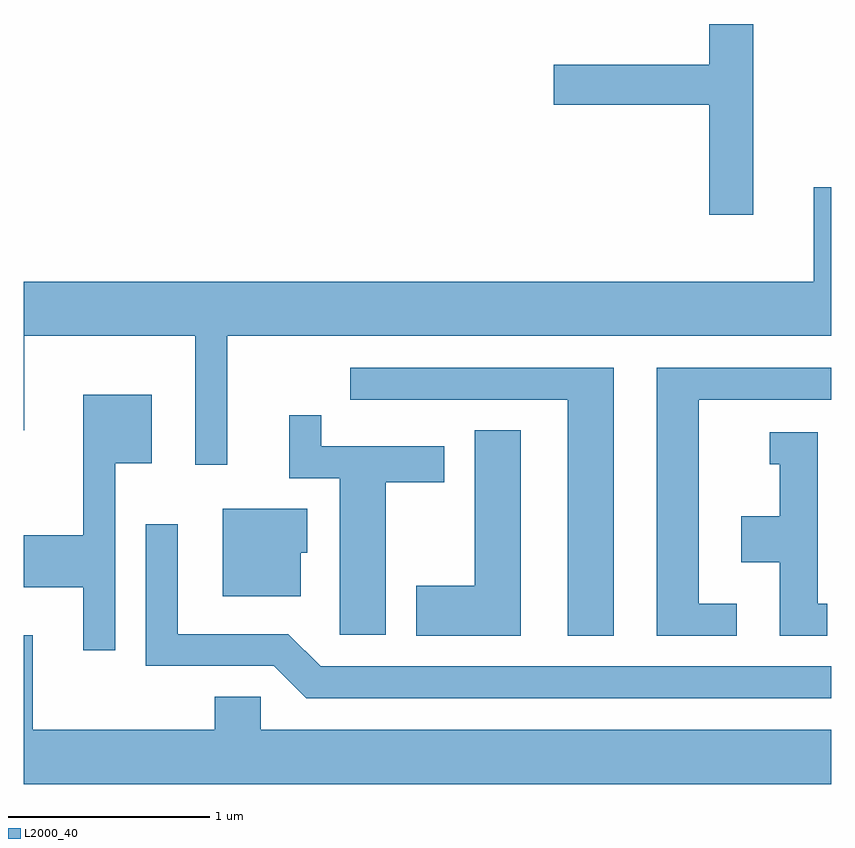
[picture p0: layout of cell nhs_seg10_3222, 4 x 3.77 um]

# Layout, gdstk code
import gdstk
lib = gdstk.Library(unit=1e-6, precision=1e-09)
def P(c, l, *ps):  # polygons
    for p in ps: c.add(gdstk.Polygon(p, *l))
L2000_40 = (2000, 40)

nhs_seg10_3222 = lib.new_cell('nhs_seg10_3222')
P(nhs_seg10_3222, L2000_40, [(283.224,2166.522),(283.006,2166.522),(283.006,2166.319),(282.236,2166.319),(282.236,2166.121),(283.006,2166.121),(283.006,2165.576),(283.224,2165.576)],
  [(280.619,2164.976),(283.611,2164.976),(283.611,2165.713),(283.526,2165.713),(283.526,2165.244),(279.611,2165.244),(279.611,2164.508),(279.614,2164.508),(279.614,2164.976),(280.461,2164.976),(280.461,2164.338),(280.619,2164.338)],
  [(282.534,2164.819),(281.228,2164.819),(281.228,2164.661),(282.306,2164.661),(282.306,2163.491),(282.534,2163.491)],
  [(283.143,2163.649),(282.954,2163.649),(282.954,2164.661),(283.611,2164.661),(283.611,2164.819),(282.746,2164.819),(282.746,2163.491),(283.143,2163.491)],
  [(280.064,2164.346),(280.244,2164.346),(280.244,2164.684),(279.906,2164.684),(279.906,2163.989),(279.611,2163.989),(279.611,2163.731),(279.906,2163.731),(279.906,2163.418),(280.064,2163.418)],
  [(281.404,2164.251),(281.694,2164.251),(281.694,2164.429),(281.084,2164.429),(281.084,2164.583),(280.926,2164.583),(280.926,2164.271),(281.176,2164.271),(281.176,2163.496),(281.404,2163.496)],
  [(282.074,2164.509),(281.846,2164.509),(281.846,2163.739),(281.556,2163.739),(281.556,2163.491),(282.074,2163.491)],
  [(283.593,2163.649),(283.544,2163.649),(283.544,2164.499),(283.308,2164.499),(283.308,2164.341),(283.356,2164.341),(283.356,2164.084),(283.166,2164.084),(283.166,2163.856),(283.356,2163.856),(283.356,2163.491),(283.593,2163.491)],
  [(280.984,2163.901),(281.014,2163.901),(281.014,2164.119),(280.596,2164.119),(280.596,2163.686),(280.984,2163.686)],
  [(283.611,2163.339),(281.082,2163.339),(280.922,2163.499),(280.374,2163.499),(280.374,2164.043),(280.216,2164.043),(280.216,2163.341),(280.849,2163.341),(281.009,2163.181),(283.611,2163.181)],
  [(283.611,2163.024),(280.784,2163.024),(280.784,2163.189),(280.556,2163.189),(280.556,2163.024),(279.654,2163.024),(279.654,2163.494),(279.611,2163.494),(279.611,2162.756),(283.611,2162.756)])

lib.write_gds('nhs_seg10_3222.gds')
